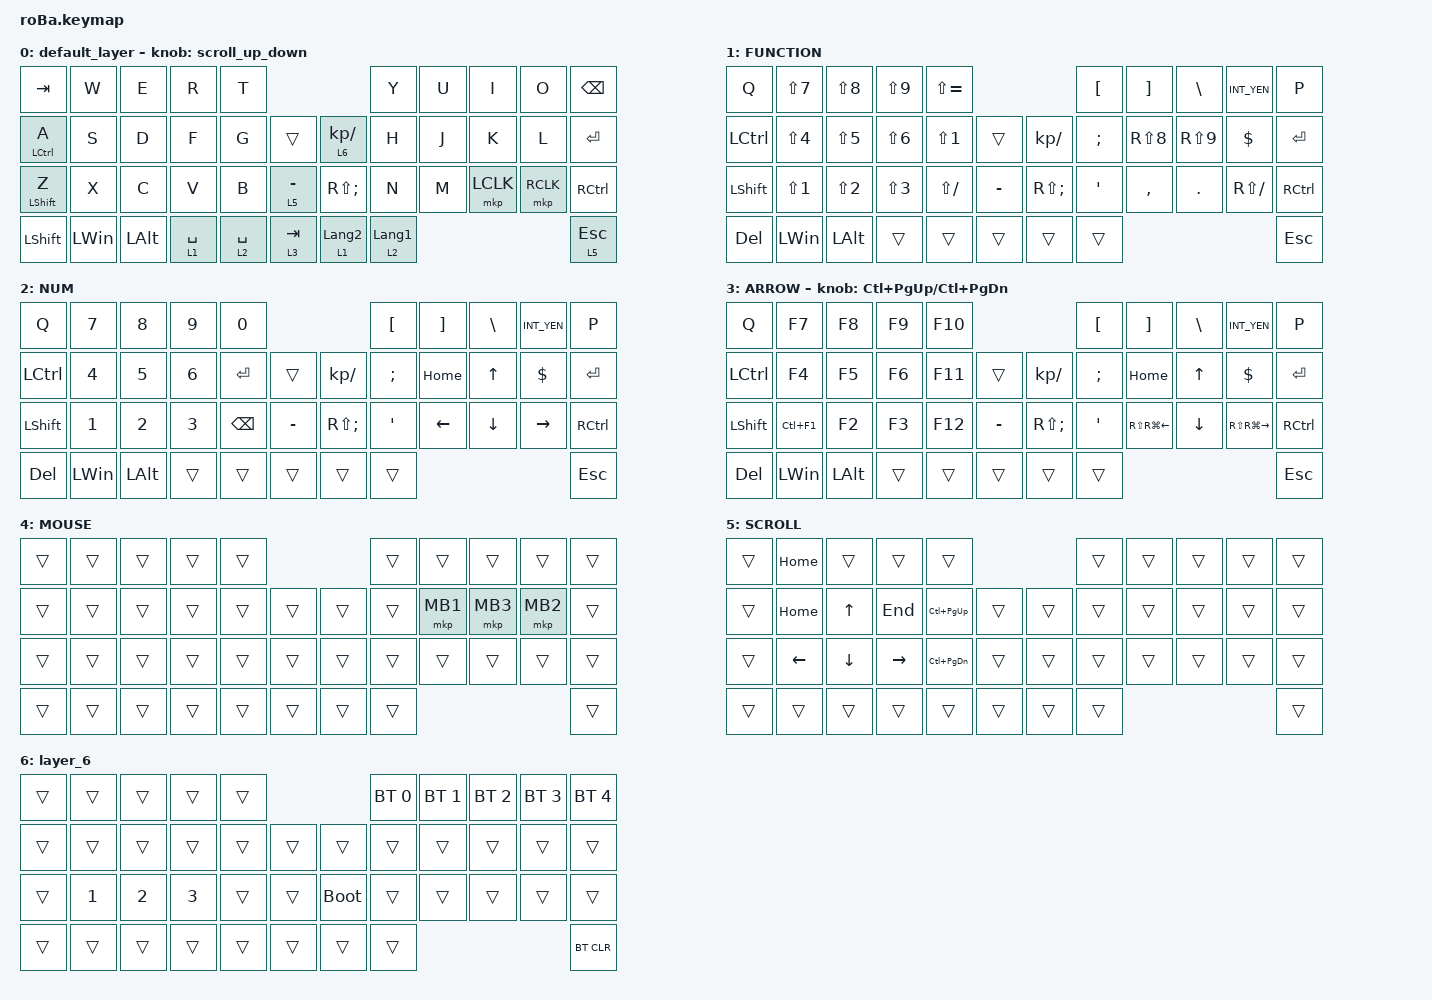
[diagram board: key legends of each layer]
#include <behaviors.dtsi>
#include <dt-bindings/zmk/bt.h>
#include <dt-bindings/zmk/keys.h>
#include <dt-bindings/zmk/pointing.h>

#define ZMK_POINTING_DEFAULT_SCRL_VAL 100
#define MOUSE 4
#define SCROLL 5
#define NUM 6

&mt {
    flavor = "balanced";
    quick-tap-ms = <0>;
    tapping-term-ms = <300>;
};

/ {
    combos {
        compatible = "zmk,combos";

        tab {
            bindings = <&kp TAB>;
            key-positions = <11 12>;
        };

        shift_tab {
            bindings = <&kp LS(TAB)>;
            key-positions = <12 13>;
        };

        muhennkann {
            bindings = <&to_layer_0 INT_MUHENKAN>;
            key-positions = <11 10>;
        };

        double_quotation {
            bindings = <&kp DOUBLE_QUOTES>;
            key-positions = <20 21>;
        };

        eq {
            bindings = <&kp EQUAL>;
            key-positions = <24 25>;
        };
    };

    macros {
        to_layer_0: to_layer_0 {
            compatible = "zmk,behavior-macro-one-param";
            #binding-cells = <1>;
            bindings = <&to 0 &macro_param_1to1 &kp MACRO_PLACEHOLDER>;
            label = "TO_LAYER_0";
        };
    };

    behaviors {
        scroll_up_down: behavior_sensor_rotate_mouse_wheel_up_down {
            compatible = "zmk,behavior-sensor-rotate";
            #sensor-binding-cells = <0>;
            bindings = <&msc SCRL_DOWN>, <&msc SCRL_UP>;

            // 追加: スクロールのタップ時間を設定 (20ms)

            tap-ms = <20>;
        };
    };

    keymap {
        compatible = "zmk,keymap";

        default_layer {
            bindings = <
&kp TAB           &kp W         &kp E         &kp R        &kp T                                           &kp Y             &kp U  &kp I      &kp O      &kp BACKSPACE
&mt LCTRL A       &kp S         &kp D         &kp F        &kp G        &trans           &lt 6 KP_DIVIDE   &kp H             &kp J  &kp K      &kp L      &kp ENTER
&mt LEFT_SHIFT Z  &kp X         &kp C         &kp V        &kp B        &lt 5 MINUS      &kp RS(SEMI)      &kp N             &kp M  &mkp LCLK  &mkp RCLK  &kp RCTRL
&kp LEFT_SHIFT    &kp LEFT_WIN  &kp LEFT_ALT  &lt 1 SPACE  &lt 2 SPACE  &lt 3 TAB        &lt 1 LANGUAGE_2  &lt 2 LANGUAGE_1                               &lt 5 ESCAPE
            >;

            sensor-bindings = <&scroll_up_down>;
        };

        FUNCTION {
            bindings = <
&kp Q             &kp LS(NUMBER_7)  &kp LS(NUMBER_8)  &kp LS(NUMBER_9)  &kp LS(EQUAL)                                  &kp LEFT_BRACKET  &kp RIGHT_BRACKET  &kp BACKSLASH     &kp INT_YEN    &kp P
&kp LEFT_CONTROL  &kp LS(NUMBER_4)  &kp LS(NUMBER_5)  &kp LS(NUMBER_6)  &kp LS(NUMBER_1)  &trans         &kp KP_SLASH  &kp SEMICOLON     &kp RS(NUMBER_8)   &kp RS(NUMBER_9)  &kp DOLLAR     &kp ENTER
&kp LEFT_SHIFT    &kp LS(NUMBER_1)  &kp LS(NUMBER_2)  &kp LS(NUMBER_3)  &kp LS(SLASH)     &kp MINUS      &kp RS(SEMI)  &kp APOSTROPHE    &kp COMMA          &kp PERIOD        &kp RS(SLASH)  &kp RCTRL
&kp DEL           &kp LEFT_WIN      &kp LEFT_ALT      &trans            &trans            &trans         &trans        &trans                                                                &kp ESCAPE
            >;
        };

        NUM {
            bindings = <
&kp Q           &kp NUMBER_7  &kp NUMBER_8  &kp NUMBER_9  &kp NUMBER_0                                 &kp LEFT_BRACKET  &kp RIGHT_BRACKET  &kp BACKSLASH   &kp INT_YEN      &kp P
&kp LCTRL       &kp NUMBER_4  &kp NUMBER_5  &kp NUMBER_6  &kp ENTER      &trans         &kp KP_DIVIDE  &kp SEMI          &kp HOME           &kp UP_ARROW    &kp DOLLAR       &kp ENTER
&kp LEFT_SHIFT  &kp NUMBER_1  &kp NUMBER_2  &kp NUMBER_3  &kp BACKSPACE  &kp MINUS      &kp RS(SEMI)   &kp APOSTROPHE    &kp LEFT_ARROW     &kp DOWN_ARROW  &kp RIGHT_ARROW  &kp RCTRL
&kp DEL         &kp LEFT_WIN  &kp LEFT_ALT  &trans        &trans         &trans         &trans         &trans                                                                &kp ESCAPE
            >;
        };

        ARROW {
            bindings = <
&kp Q           &kp F7        &kp F8        &kp F9  &kp F10                                &kp LEFT_BRACKET  &kp RIGHT_BRACKET       &kp BACKSLASH   &kp INT_YEN              &kp P
&kp LCTRL       &kp F4        &kp F5        &kp F6  &kp F11  &trans         &kp KP_DIVIDE  &kp SEMI          &kp HOME                &kp UP_ARROW    &kp DOLLAR               &kp ENTER
&kp LEFT_SHIFT  &kp LC(F1)    &kp F2        &kp F3  &kp F12  &kp MINUS      &kp RS(SEMI)   &kp APOSTROPHE    &kp RS(RG(LEFT_ARROW))  &kp DOWN_ARROW  &kp RS(RG(RIGHT_ARROW))  &kp RCTRL
&kp DEL         &kp LEFT_WIN  &kp LEFT_ALT  &trans  &trans   &trans         &trans         &trans                                                                             &kp ESCAPE
            >;

            sensor-bindings = <&inc_dec_kp LC(PAGE_UP) LC(PAGE_DOWN)>;
        };

        MOUSE {
            bindings = <
&trans  &trans  &trans  &trans  &trans                      &trans  &trans    &trans    &trans    &trans
&trans  &trans  &trans  &trans  &trans  &trans      &trans  &trans  &mkp MB1  &mkp MB3  &mkp MB2  &trans
&trans  &trans  &trans  &trans  &trans  &trans      &trans  &trans  &trans    &trans    &trans    &trans
&trans  &trans  &trans  &trans  &trans  &trans      &trans  &trans                                &trans
            >;
        };

        SCROLL {
            bindings = <
&trans  &kp HOME        &trans          &trans           &trans                                 &trans  &trans  &trans  &trans  &trans
&trans  &kp HOME        &kp UP_ARROW    &kp END          &kp LC(PG_UP)      &trans      &trans  &trans  &trans  &trans  &trans  &trans
&trans  &kp LEFT_ARROW  &kp DOWN_ARROW  &kp RIGHT_ARROW  &kp LC(PAGE_DOWN)  &trans      &trans  &trans  &trans  &trans  &trans  &trans
&trans  &trans          &trans          &trans           &trans             &trans      &trans  &trans                          &trans
            >;
        };

        layer_6 {
            bindings = <
&trans  &trans        &trans        &trans        &trans                           &bt BT_SEL 0  &bt BT_SEL 1  &bt BT_SEL 2  &bt BT_SEL 3  &bt BT_SEL 4
&trans  &trans        &trans        &trans        &trans  &trans      &trans       &trans        &trans        &trans        &trans        &trans
&trans  &kp NUMBER_1  &kp NUMBER_2  &kp NUMBER_3  &trans  &trans      &bootloader  &trans        &trans        &trans        &trans        &trans
&trans  &trans        &trans        &trans        &trans  &trans      &trans       &trans                                                  &bt BT_CLR
            >;
        };
    };
};
